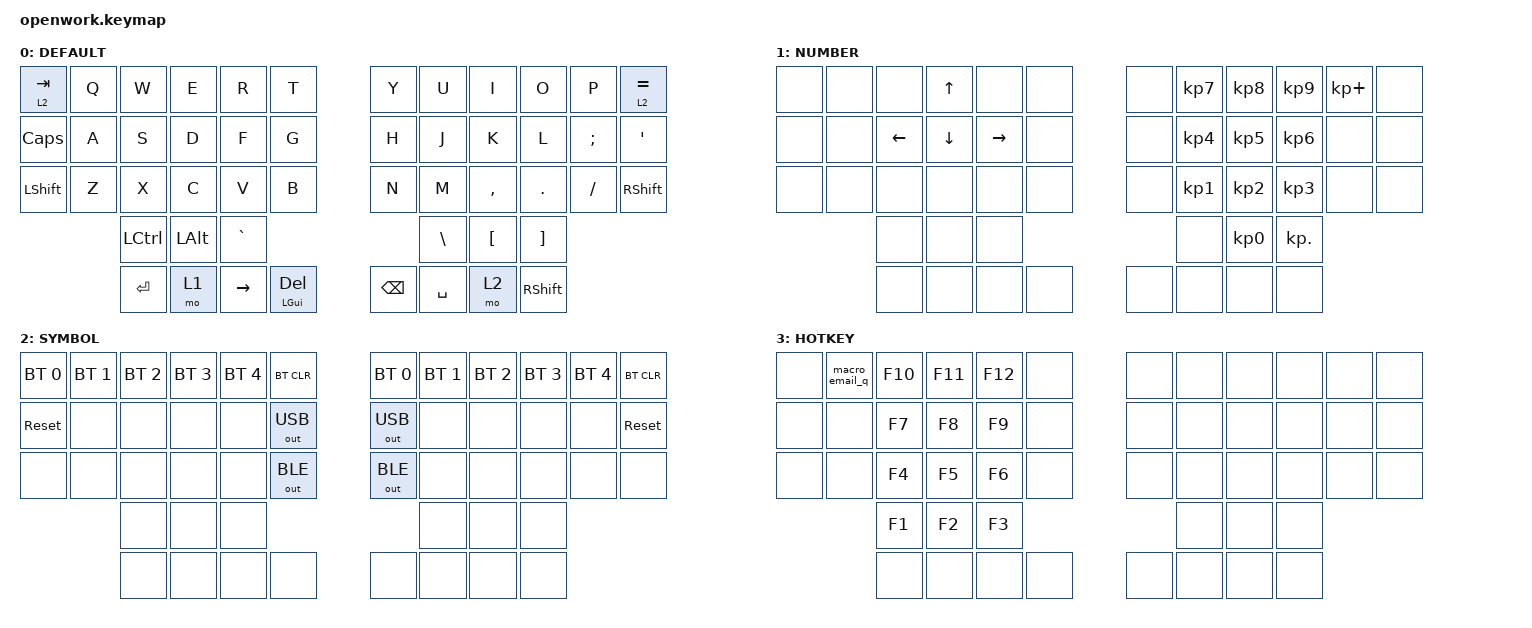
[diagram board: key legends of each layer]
#include <behaviors.dtsi>
#include <dt-bindings/zmk/bt.h>
#include <dt-bindings/zmk/keys.h>
#include <dt-bindings/zmk/outputs.h>

#define DEFAULT 0
#define NUMBER  1
#define SYMBOL  2
#define HOTKEY  3

#define AS(keycode) &as LS(keycode) keycode

/ {
    behaviors {
        td0: tap_dance_0 {
            compatible = "zmk,behavior-tap-dance";
            label = "TAP_DANCE_0";
            #binding-cells = <0>;
            tapping-term-ms = <200>;
            bindings =
                <&kp ESC>,
                <&kp TAB>;
        };
    };

    behaviors {
        as: auto_shift {
            compatible = "zmk,behavior-hold-tap";
            label = "AUTO_SHIFT";
            #binding-cells = <2>;
            tapping-term-ms = <200>;
            quick-tap-ms = <0>;
            flavor = "tap-preferred";
            bindings =
                <&kp>,
                <&kp>;
        };
        modcp: mod_copy {
            compatible = "zmk,behavior-mod-morph";
            label = "MOD_COPY";
            #binding-cells = <0>;
            bindings =
                <&as LS(C) C>,
                <&kp C>;

            mods = <(LGUI | RGUI)>;
        };
    };

    macros {
        
        macro_email_q: macro_email_q {
            // 714448168@qq.com

            label = "MACRO_EMAIL_QQ";
            compatible = "zmk,behavior-macro";
            #binding-cells = <0>;
            bindings = <&kp N7 &kp N1 &kp N4 &kp N4 &kp N4 &kp N8 &kp N1 &kp N6 &kp N8 &kp AT &kp Q &kp Q &kp DOT &kp C &kp O &kp M>;
        };

    };

    combos {
        compatible = "zmk,combos";

        up {
            bindings = <&kp UP>;
            key-positions = <16 28>;
            layers = <0 1>;
            timeout-ms = <50>;
        };

        down {
            bindings = <&kp DOWN>;
            key-positions = <28 40>;
            timeout-ms = <50>;
        };

        left {
            bindings = <&kp LEFT>;
            key-positions = <27 28>;
            layers = <0 1>;
            timeout-ms = <50>;
        };

        right {
            bindings = <&kp RIGHT>;
            key-positions = <28 29>;
            layers = <0 1>;
            timeout-ms = <50>;
        };
    };
    keymap {
        compatible = "zmk,keymap";

        default_layer {
            label = "DEFAULT";
            bindings = <
                        &lt 2 TAB       &kp Q   &kp W         &kp E         &kp R      &kp T                  &kp Y          &kp U      &kp I      &kp O     &kp P     &lt 2 EQUAL
                        &kp CAPSLOCK    &kp A   &kp S         &kp D         &kp F      &kp G                  &kp H          &kp J      &kp K      &kp L     &kp SEMI  &kp SQT
                        &kp LSHFT       &kp Z   &kp X         &kp C         &kp V      &kp B                  &kp N          &kp M      &kp COMMA  &kp DOT   &kp FSLH  &kp RSHFT
                                                &kp LCTRL     &kp LEFT_ALT  &kp GRAVE                                        &kp BSLH   &kp LBKT   &kp RBKT 
                                                &kp RETURN    &mo  1        &kp RIGHT  &mt LGUI DEL           &kp BACKSPACE  &kp SPACE  &mo  2     &kp RSHFT
            >;
        };

        number_layer {
            label = "NUMBER";
            bindings = <
                        &none  &none         &none   &kp UP   &none   &none                &none   &kp KP_N7  &kp KP_N8     &kp KP_N9        &kp KP_PLUS   &none
                        &none  &none        &kp LEFT &kp DOWN  &kp RIGHT &none             &none   &kp KP_N4  &kp KP_N5     &kp KP_N6        &none         &none
                        &none  &none         &none   &none   &none   &none                 &none   &kp KP_N1  &kp KP_N2     &kp KP_N3        &none         &none
                                             &none   &none   &none                                 &none      &kp KP_N0     &kp KP_DOT
                                             &none   &none   &none   &none                 &none   &none      &none         &none
            >;
        };

        symbol_layer {
            label = "SYMBOL";
            bindings = <
                        &bt BT_SEL 0  &bt BT_SEL 1  &bt BT_SEL 2  &bt BT_SEL 3  &bt BT_SEL 4  &bt BT_CLR              &bt BT_SEL 0  &bt BT_SEL 1  &bt BT_SEL 2  &bt BT_SEL 3  &bt BT_SEL 4  &bt BT_CLR
                        &sys_reset    &none         &none         &none         &none         &out OUT_USB            &out OUT_USB  &none         &none         &none         &none         &sys_reset
                        &none         &none         &none         &none         &none         &out OUT_BLE            &out OUT_BLE  &none         &none         &none         &none         &none
                                                    &none         &none         &none                                               &none         &none         &none         
                                                    &none         &none         &none         &none                   &none         &none         &none         &none
            >;
        };

        hotkey_layer {
            label = "HOTKEY";
            bindings = <
                        &none  &macro_email_q  &kp F10  &kp F11  &kp F12   &none                             &none  &none  &none  &none  &none  &none
                        &none  &none         &kp F7   &kp F8   &kp F9   &none                               &none  &none  &none  &none  &none  &none
                        &none  &none         &kp F4   &kp F5   &kp F6   &none                               &none  &none  &none  &none  &none  &none
                                              &kp F1   &kp F2   &kp F3                                                &none  &none  &none  
                                              &none   &none   &none   &none                                 &none  &none  &none  &none                                                    
                                                              
            >;
        };
    };
};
